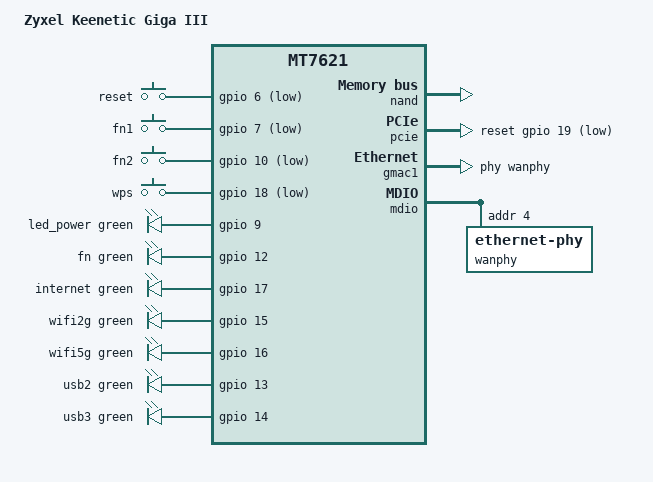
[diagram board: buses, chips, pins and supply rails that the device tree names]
// SPDX-License-Identifier: GPL-2.0-or-later OR MIT

#include "mt7621.dtsi"

#include <dt-bindings/gpio/gpio.h>
#include <dt-bindings/input/input.h>
#include <dt-bindings/leds/common.h>

/ {
	compatible = "zyxel,keenetic-giga-iii", "mediatek,mt7621-soc";
	model = "Zyxel Keenetic Giga III";

	aliases {
		label-mac-device = &gmac1;

		led-boot = &led_power;
		led-failsafe = &led_power;
		led-running = &led_power;
		led-upgrade = &led_power;
	};

	keys {
		compatible = "gpio-keys";

		reset {
			label = "reset";
			gpios = <&gpio 6 GPIO_ACTIVE_LOW>;
			linux,code = <KEY_RESTART>;
		};

		fn1 {
			label = "fn1";
			gpios = <&gpio 7 GPIO_ACTIVE_LOW>;
			linux,code = <BTN_0>;
		};

		fn2 {
			label = "fn2";
			gpios = <&gpio 10 GPIO_ACTIVE_LOW>;
			linux,code = <BTN_1>;
		};

		wps {
			label = "wps";
			gpios = <&gpio 18 GPIO_ACTIVE_LOW>;
			linux,code = <KEY_WPS_BUTTON>;
		};
	};

	leds {
		compatible = "gpio-leds";

		led_power: power {
			function = LED_FUNCTION_POWER;
			color = <LED_COLOR_ID_GREEN>;
			gpios = <&gpio 9 GPIO_ACTIVE_HIGH>;
			default-state = "keep";
		};

		fn {
			function = "fn";
			color = <LED_COLOR_ID_GREEN>;
			gpios = <&gpio 12 GPIO_ACTIVE_HIGH>;
		};

		internet {
			function = "internet";
			color = <LED_COLOR_ID_GREEN>;
			gpios = <&gpio 17 GPIO_ACTIVE_HIGH>;
		};

		wifi2g {
			function = LED_FUNCTION_WLAN_2GHZ;
			color = <LED_COLOR_ID_GREEN>;
			gpios = <&gpio 15 GPIO_ACTIVE_HIGH>;
			linux,default-trigger = "phy1tpt";
		};

		wifi5g {
			function = LED_FUNCTION_WLAN_5GHZ;
			color = <LED_COLOR_ID_GREEN>;
			gpios = <&gpio 16 GPIO_ACTIVE_HIGH>;
			linux,default-trigger = "phy0tpt";
		};

		usb2 {
			function = LED_FUNCTION_USB;
			color = <LED_COLOR_ID_GREEN>;
			function-enumerator = <2>;
			gpios = <&gpio 13 GPIO_ACTIVE_HIGH>;
			trigger-sources = <&ehci_port2>;
			linux,default-trigger = "usbport";
		};

		usb3 {
			function = LED_FUNCTION_USB;
			color = <LED_COLOR_ID_GREEN>;
			function-enumerator = <3>;
			gpios = <&gpio 14 GPIO_ACTIVE_HIGH>;
			trigger-sources = <&xhci_ehci_port1>;
			linux,default-trigger = "usbport";
		};
	};

	ubi-concat {
		compatible = "mtd-concat";
		devices = <&ubiconcat0 &ubiconcat1>;

		partitions {
			compatible = "fixed-partitions";
			#address-cells = <1>;
			#size-cells = <1>;

			partition@0 {
				label = "ubi";
				reg = <0x0 0x7500000>;
			};
		};
	};
};

&nand {
	status = "okay";

	partitions {
		compatible = "fixed-partitions";
		#address-cells = <1>;
		#size-cells = <1>;

		partition@0 {
			label = "u-boot";
			reg = <0x0 0x80000>;
			read-only;
		};

		partition@80000 {
			label = "u-config";
			reg = <0x80000 0x80000>;
			read-only;
		};

		factory: partition@100000 {
			label = "factory";
			reg = <0x100000 0x80000>;
			read-only;

			nvmem-layout {
				compatible = "fixed-layout";
				#address-cells = <1>;
				#size-cells = <1>;

				eeprom_factory_0: eeprom@0 {
					reg = <0x0 0x200>;
				};

				macaddr_factory_4: macaddr@4 {
					reg = <0x4 0x6>;
				};

				macaddr_factory_28: macaddr@28 {
					reg = <0x28 0x6>;
				};

				eeprom_factory_8000: eeprom@8000 {
					reg = <0x8000 0x200>;
				};

				macaddr_factory_8004: macaddr@8004 {
					reg = <0x8004 0x6>;
				};
			};
		};

		partition@180000 {
			label = "firmware";
			reg = <0x180000 0x3e40000>;
			compatible = "fixed-partitions";
			#address-cells = <1>;
			#size-cells = <1>;

			partition@0 {
				label = "kernel";
				reg = <0x0 0x400000>;
			};

			ubiconcat0: partition@400000 {
				label = "ubiconcat0";
				reg = <0x400000 0x3a40000>;
			};
		};

		partition@3fc0000 {
			label = "u-state";
			reg = <0x3fc0000 0x80000>;
		};

		partition@4040000 {
			label = "u-config-res";
			reg = <0x4040000 0x80000>;
			read-only;
		};

		partition@40c0000 {
			label = "factory-res";
			reg = <0x40c0000 0x80000>;
			read-only;
		};

		ubiconcat1: partition@4140000 {
			label = "ubiconcat1";
			reg = <0x4140000 0x3ac0000>;
		};

		partition@7c00000 {
			label = "mtk-nand-bbt";
			reg = <0x7c00000 0x400000>;
			read-only;
		};
	};
};

&pcie {
	status = "okay";
	reset-gpios = <&gpio 19 GPIO_ACTIVE_LOW>,
		      <&gpio 8 GPIO_ACTIVE_LOW>;
};

&pcie0 {
	wifi@0,0 {
		reg = <0x0000 0 0 0 0>;
		nvmem-cells = <&eeprom_factory_8000>, <&macaddr_factory_8004>;
		nvmem-cell-names = "eeprom", "mac-address";
		ieee80211-freq-limit = <5000000 6000000>;
	};
};

&pcie1 {
	wifi@0,0 {
		reg = <0x0000 0 0 0 0>;
		nvmem-cells = <&eeprom_factory_0>, <&macaddr_factory_4>;
		nvmem-cell-names = "eeprom", "mac-address";
		ieee80211-freq-limit = <2400000 2500000>;
	};
};

&gmac0 {
	nvmem-cells = <&macaddr_factory_4>;
	nvmem-cell-names = "mac-address";
};

&gmac1 {
	status = "okay";
	label = "wan";
	phy-handle = <&wanphy>;

	nvmem-cells = <&macaddr_factory_28>;
	nvmem-cell-names = "mac-address";
};

&mdio {
	wanphy: ethernet-phy@4 {
		reg = <4>;
	};
};

&switch0 {
	ports {
		port@0 {
			status = "okay";
			label = "lan4";
		};

		port@1 {
			status = "okay";
			label = "lan3";
		};

		port@2 {
			status = "okay";
			label = "lan2";
		};

		port@3 {
			status = "okay";
			label = "lan1";
		};
	};
};

&state_default {
	gpio {
		groups = "uart3", "uart2", "jtag", "wdt";
		function = "gpio";
	};
};

&reg_vbus {
	/delete-property/ regulator-always-on;
	gpios = <&gpio 5 GPIO_ACTIVE_HIGH>;
	enable-active-high;
};

&reg_vusb33 {
	/delete-property/ regulator-always-on;
	gpios = <&gpio 11 GPIO_ACTIVE_HIGH>;
	enable-active-high;
};
